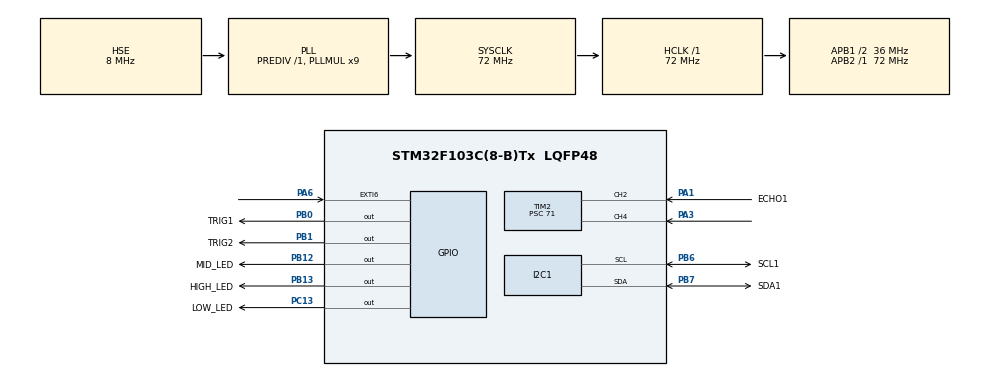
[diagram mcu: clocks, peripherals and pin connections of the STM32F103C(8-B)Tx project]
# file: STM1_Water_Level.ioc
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I2C1.I2C_Mode=I2C_Fast
Mcu.Family=STM32F1
Mcu.Name=STM32F103C(8-B)Tx
Mcu.Package=LQFP48
NVIC.I2C1_ER_IRQn=true\:0\:0\:false\:false\:true\:true\:true\:true
NVIC.I2C1_EV_IRQn=true\:0\:0\:false\:false\:true\:true\:true\:true
NVIC.PriorityGroup=NVIC_PRIORITYGROUP_4
NVIC.TIM2_IRQn=true\:0\:0\:false\:false\:true\:true\:true\:true
PA1.GPIO_Label=ECHO1
PA1.GPIO_PuPd=GPIO_PULLDOWN
PA1.Signal=S_TIM2_CH2
PA13.Mode=Serial_Wire
PA13.Signal=SYS_JTMS-SWDIO
PA14.Mode=Serial_Wire
PA14.Signal=SYS_JTCK-SWCLK
PA3.Signal=S_TIM2_CH4
PA6.Signal=GPXTI6
PB0.GPIO_Label=TRIG1
PB0.Signal=GPIO_Output
PB1.GPIO_Label=TRIG2
PB1.Signal=GPIO_Output
PB12.GPIO_Label=MID_LED
PB12.Signal=GPIO_Output
PB13.GPIO_Label=HIGH_LED
PB13.Signal=GPIO_Output
PB6.GPIO_Label=SCL1
PB6.Mode=I2C
PB6.Signal=I2C1_SCL
PB7.GPIO_Label=SDA1
PB7.Mode=I2C
PB7.Signal=I2C1_SDA
PC13-TAMPER-RTC.GPIO_Label=LOW_LED
PC13-TAMPER-RTC.Signal=GPIO_Output
PD0-OSC_IN.Mode=HSE-External-Oscillator
PD0-OSC_IN.Signal=RCC_OSC_IN
PD1-OSC_OUT.Mode=HSE-External-Oscillator
PD1-OSC_OUT.Signal=RCC_OSC_OUT
ProjectManager.HeapSize=0x200
ProjectManager.StackSize=0x400
ProjectManager.TargetToolchain=STM32CubeIDE
RCC.AHBFreq_Value=72000000
RCC.APB1CLKDivider=RCC_HCLK_DIV2
RCC.APB1Freq_Value=36000000
RCC.APB1TimFreq_Value=72000000
RCC.APB2Freq_Value=72000000
RCC.APB2TimFreq_Value=72000000
RCC.HCLKFreq_Value=72000000
RCC.PLLMUL=RCC_PLL_MUL9
RCC.PLLSourceVirtual=RCC_PLLSOURCE_HSE
RCC.SYSCLKFreq_VALUE=72000000
RCC.SYSCLKSource=RCC_SYSCLKSOURCE_PLLCLK
RCC.USBFreq_Value=72000000
SH.S_TIM2_CH2.0=TIM2_CH2,Input_Capture2_from_TI2
SH.S_TIM2_CH4.0=TIM2_CH4,Input_Capture4_from_TI4
TIM2.AutoReloadPreload=TIM_AUTORELOAD_PRELOAD_ENABLE
TIM2.Channel-Input_Capture2_from_TI2=TIM_CHANNEL_2
TIM2.Channel-Input_Capture4_from_TI4=TIM_CHANNEL_4
TIM2.Prescaler=71
VP_TIM2_VS_ClockSourceINT.Mode=Internal
board=custom

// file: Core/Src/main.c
/* USER CODE BEGIN Header */
/**
  ******************************************************************************
  * @file           : main.c
  * @brief          : Main program body
  ******************************************************************************
  * @attention
  *
  * Copyright (c) 2026 STMicroelectronics.
  * All rights reserved.
  *
  * This software is licensed under terms that can be found in the LICENSE file
  * in the root directory of this software component.
  * If no LICENSE file comes with this software, it is provided AS-IS.
  *
  ******************************************************************************
  */
/* USER CODE END Header */
#include "main.h"

I2C_HandleTypeDef hi2c1;

TIM_HandleTypeDef htim2;

/* USER CODE BEGIN PV */
float distance1 = 0;
float distance2 = 0;
/* USER CODE END PV */

void SystemClock_Config(void);
static void MX_GPIO_Init(void);
static void MX_TIM2_Init(void);
static void MX_I2C1_Init(void);
/* USER CODE BEGIN PFP */
void HCSR04_Trigger(GPIO_TypeDef *port, uint16_t pin);
float Read_ToF_Distance(void);
void delay_us(uint16_t us);
/* USER CODE END PFP */

int main(void)
{

  /* USER CODE BEGIN 1 */
	float dist1 = 0;
	float dist2 = 0;
	float dist3 = 0;
  /* USER CODE END 1 */

  /* MCU Configuration--------------------------------------------------------*/

  /* Reset of all peripherals, Initializes the Flash interface and the Systick. */
  HAL_Init();

  /* Configure the system clock */
  SystemClock_Config();

  /* Initialize all configured peripherals */
  MX_GPIO_Init();
  MX_TIM2_Init();
  MX_I2C1_Init();
  /* USER CODE BEGIN 2 */
  HAL_TIM_IC_Start_IT(&htim2, TIM_CHANNEL_2);
  HAL_TIM_IC_Start_IT(&htim2, TIM_CHANNEL_4);

  /* USER CODE END 2 */

  /* Infinite loop */
  while (1)
  {
	      // Trigger both ultrasonic sensors
	      HCSR04_Trigger(GPIOB, TRIG1_Pin);
	      HAL_Delay(50);

	      dist1 = distance1;  // from channel 2

	      HCSR04_Trigger(GPIOB, TRIG2_Pin);
	      HAL_Delay(50);

	      dist2 = distance2;  // from channel 4

	      // ToF
	      dist3 = Read_ToF_Distance();

	      // Reset LEDs
	      HAL_GPIO_WritePin(GPIOC, LOW_LED_Pin, GPIO_PIN_RESET);
	      HAL_GPIO_WritePin(GPIOB, MID_LED_Pin | HIGH_LED_Pin, GPIO_PIN_RESET);

	      // Level 1
	      if (dist1 <= 10)
	      {
	          HAL_GPIO_WritePin(GPIOC, LOW_LED_Pin, GPIO_PIN_SET);
	      }

	      // Level 2
	      if (dist2 <= 10)
	      {
	          HAL_GPIO_WritePin(GPIOC, LOW_LED_Pin, GPIO_PIN_SET);
	          HAL_GPIO_WritePin(GPIOB, MID_LED_Pin, GPIO_PIN_SET);
	      }

	      // Level 3
	      if (dist3 <= 10)
	      {
	          HAL_GPIO_WritePin(GPIOC, LOW_LED_Pin, GPIO_PIN_SET);
	          HAL_GPIO_WritePin(GPIOB, MID_LED_Pin | HIGH_LED_Pin, GPIO_PIN_SET);
	      }

	      HAL_Delay(100);
  }
}

void SystemClock_Config(void)
{
  RCC_OscInitTypeDef RCC_OscInitStruct = {0};
  RCC_ClkInitTypeDef RCC_ClkInitStruct = {0};

  /** Initializes the RCC Oscillators according to the specified parameters
  * in the RCC_OscInitTypeDef structure.
  */
  RCC_OscInitStruct.OscillatorType = RCC_OSCILLATORTYPE_HSE;
  RCC_OscInitStruct.HSEState = RCC_HSE_ON;
  RCC_OscInitStruct.HSEPredivValue = RCC_HSE_PREDIV_DIV1;
  RCC_OscInitStruct.HSIState = RCC_HSI_ON;
  RCC_OscInitStruct.PLL.PLLState = RCC_PLL_ON;
  RCC_OscInitStruct.PLL.PLLSource = RCC_PLLSOURCE_HSE;
  RCC_OscInitStruct.PLL.PLLMUL = RCC_PLL_MUL9;
  if (HAL_RCC_OscConfig(&RCC_OscInitStruct) != HAL_OK)
  {
    Error_Handler();
  }

  /** Initializes the CPU, AHB and APB buses clocks
  */
  RCC_ClkInitStruct.ClockType = RCC_CLOCKTYPE_HCLK|RCC_CLOCKTYPE_SYSCLK
                              |RCC_CLOCKTYPE_PCLK1|RCC_CLOCKTYPE_PCLK2;
  RCC_ClkInitStruct.SYSCLKSource = RCC_SYSCLKSOURCE_PLLCLK;   // system clock selection = sysclk = 72MHz
  RCC_ClkInitStruct.AHBCLKDivider = RCC_SYSCLK_DIV1;
  RCC_ClkInitStruct.APB1CLKDivider = RCC_HCLK_DIV2;
  RCC_ClkInitStruct.APB2CLKDivider = RCC_HCLK_DIV1;

  if (HAL_RCC_ClockConfig(&RCC_ClkInitStruct, FLASH_LATENCY_2) != HAL_OK)
  {
    Error_Handler();
  }
}

static void MX_I2C1_Init(void)
{

  hi2c1.Instance = I2C1;
  hi2c1.Init.ClockSpeed = 400000;
  hi2c1.Init.DutyCycle = I2C_DUTYCYCLE_2;
  hi2c1.Init.OwnAddress1 = 0;
  hi2c1.Init.AddressingMode = I2C_ADDRESSINGMODE_7BIT;
  hi2c1.Init.DualAddressMode = I2C_DUALADDRESS_DISABLE;
  hi2c1.Init.OwnAddress2 = 0;
  hi2c1.Init.GeneralCallMode = I2C_GENERALCALL_DISABLE;
  hi2c1.Init.NoStretchMode = I2C_NOSTRETCH_DISABLE;
  if (HAL_I2C_Init(&hi2c1) != HAL_OK)
  {
    Error_Handler();
  }

}

static void MX_TIM2_Init(void)
{

  TIM_ClockConfigTypeDef sClockSourceConfig = {0};
  TIM_MasterConfigTypeDef sMasterConfig = {0};
  TIM_IC_InitTypeDef sConfigIC = {0};

  htim2.Instance = TIM2;
  htim2.Init.Prescaler = 71;
  htim2.Init.CounterMode = TIM_COUNTERMODE_UP;
  htim2.Init.Period = 65535;
  htim2.Init.ClockDivision = TIM_CLOCKDIVISION_DIV1;
  htim2.Init.AutoReloadPreload = TIM_AUTORELOAD_PRELOAD_ENABLE;
  if (HAL_TIM_Base_Init(&htim2) != HAL_OK)
  {
    Error_Handler();
  }
  sClockSourceConfig.ClockSource = TIM_CLOCKSOURCE_INTERNAL;
  if (HAL_TIM_ConfigClockSource(&htim2, &sClockSourceConfig) != HAL_OK)
  {
    Error_Handler();
  }
  if (HAL_TIM_IC_Init(&htim2) != HAL_OK)
  {
    Error_Handler();
  }
  sMasterConfig.MasterOutputTrigger = TIM_TRGO_RESET;
  sMasterConfig.MasterSlaveMode = TIM_MASTERSLAVEMODE_DISABLE;
  if (HAL_TIMEx_MasterConfigSynchronization(&htim2, &sMasterConfig) != HAL_OK)
  {
    Error_Handler();
  }
  sConfigIC.ICPolarity = TIM_INPUTCHANNELPOLARITY_RISING;
  sConfigIC.ICSelection = TIM_ICSELECTION_DIRECTTI;
  sConfigIC.ICPrescaler = TIM_ICPSC_DIV1;
  sConfigIC.ICFilter = 0;
  if (HAL_TIM_IC_ConfigChannel(&htim2, &sConfigIC, TIM_CHANNEL_2) != HAL_OK)
  {
    Error_Handler();
  }
  if (HAL_TIM_IC_ConfigChannel(&htim2, &sConfigIC, TIM_CHANNEL_4) != HAL_OK)
  {
    Error_Handler();
  }

}

static void MX_GPIO_Init(void)
{
  GPIO_InitTypeDef GPIO_InitStruct = {0};

  /* GPIO Ports Clock Enable */
  __HAL_RCC_GPIOC_CLK_ENABLE();
  __HAL_RCC_GPIOD_CLK_ENABLE();
  __HAL_RCC_GPIOA_CLK_ENABLE();
  __HAL_RCC_GPIOB_CLK_ENABLE();

  /*Configure GPIO pin Output Level */
  HAL_GPIO_WritePin(LOW_LED_GPIO_Port, LOW_LED_Pin, GPIO_PIN_RESET);

  /*Configure GPIO pin Output Level */
  HAL_GPIO_WritePin(GPIOB, TRIG1_Pin|TRIG2_Pin|MID_LED_Pin|HIGH_LED_Pin, GPIO_PIN_RESET);

  /*Configure GPIO pin : LOW_LED_Pin */
  GPIO_InitStruct.Pin = LOW_LED_Pin;
  GPIO_InitStruct.Mode = GPIO_MODE_OUTPUT_PP;
  GPIO_InitStruct.Pull = GPIO_NOPULL;
  GPIO_InitStruct.Speed = GPIO_SPEED_FREQ_LOW;
  HAL_GPIO_Init(LOW_LED_GPIO_Port, &GPIO_InitStruct);

  /*Configure GPIO pin : PA6 */
  GPIO_InitStruct.Pin = GPIO_PIN_6;
  GPIO_InitStruct.Mode = GPIO_MODE_IT_RISING;
  GPIO_InitStruct.Pull = GPIO_NOPULL;
  HAL_GPIO_Init(GPIOA, &GPIO_InitStruct);

  /*Configure GPIO pins : TRIG1_Pin TRIG2_Pin MID_LED_Pin HIGH_LED_Pin */
  GPIO_InitStruct.Pin = TRIG1_Pin|TRIG2_Pin|MID_LED_Pin|HIGH_LED_Pin;
  GPIO_InitStruct.Mode = GPIO_MODE_OUTPUT_PP;
  GPIO_InitStruct.Pull = GPIO_NOPULL;
  GPIO_InitStruct.Speed = GPIO_SPEED_FREQ_LOW;
  HAL_GPIO_Init(GPIOB, &GPIO_InitStruct);

}

/* USER CODE BEGIN 4 */
uint32_t IC_Val1 = 0;
uint32_t IC_Val2 = 0;
uint8_t Is_First_Captured = 0;
uint32_t Difference = 0;
float distance = 0;

float Read_ToF_Distance(void)
{
    // TODO: Replace with real I2C code
    return 100;  // dummy value for now
}
void HAL_TIM_IC_CaptureCallback(TIM_HandleTypeDef *htim)
{
    static uint32_t IC1_Val1 = 0, IC1_Val2 = 0;
    static uint32_t IC2_Val1 = 0, IC2_Val2 = 0;
    static uint8_t isFirst1 = 0;
    static uint8_t isFirst2 = 0;

    // SENSOR 1 → CHANNEL 2
    if (htim->Channel == HAL_TIM_ACTIVE_CHANNEL_2)
    {
        if (!isFirst1)
        {
            IC1_Val1 = HAL_TIM_ReadCapturedValue(htim, TIM_CHANNEL_2);
            isFirst1 = 1;
            __HAL_TIM_SET_CAPTUREPOLARITY(htim, TIM_CHANNEL_2, TIM_INPUTCHANNELPOLARITY_FALLING);
        }
        else
        {
            IC1_Val2 = HAL_TIM_ReadCapturedValue(htim, TIM_CHANNEL_2);

            uint32_t diff = (IC1_Val2 > IC1_Val1) ?
                            (IC1_Val2 - IC1_Val1) :
                            (65535 - IC1_Val1 + IC1_Val2);

            distance1 = diff * 0.034 / 2;

            isFirst1 = 0;
            __HAL_TIM_SET_CAPTUREPOLARITY(htim, TIM_CHANNEL_2, TIM_INPUTCHANNELPOLARITY_RISING);
        }
    }

    // SENSOR 2 → CHANNEL 4
    if (htim->Channel == HAL_TIM_ACTIVE_CHANNEL_4)
    {
        if (!isFirst2)
        {
            IC2_Val1 = HAL_TIM_ReadCapturedValue(htim, TIM_CHANNEL_4);
            isFirst2 = 1;
            __HAL_TIM_SET_CAPTUREPOLARITY(htim, TIM_CHANNEL_4, TIM_INPUTCHANNELPOLARITY_FALLING);
        }
        else
        {
            IC2_Val2 = HAL_TIM_ReadCapturedValue(htim, TIM_CHANNEL_4);

            uint32_t diff = (IC2_Val2 > IC2_Val1) ?
                            (IC2_Val2 - IC2_Val1) :
                            (65535 - IC2_Val1 + IC2_Val2);

            distance2 = diff * 0.034 / 2;

            isFirst2 = 0;
            __HAL_TIM_SET_CAPTUREPOLARITY(htim, TIM_CHANNEL_4, TIM_INPUTCHANNELPOLARITY_RISING);
        }
    }
}

void delay_us(uint16_t us)
{
    __HAL_TIM_SET_COUNTER(&htim2, 0);
    while (__HAL_TIM_GET_COUNTER(&htim2) < us);
}

void HCSR04_Trigger(GPIO_TypeDef *port, uint16_t pin)
{
    HAL_GPIO_WritePin(port, pin, GPIO_PIN_SET);
    delay_us(10);   // correct 10µs pulse
    HAL_GPIO_WritePin(port, pin, GPIO_PIN_RESET);
}
/* USER CODE END 4 */

void Error_Handler(void)
{
  __disable_irq();
  while (1)
  {
  }
}
